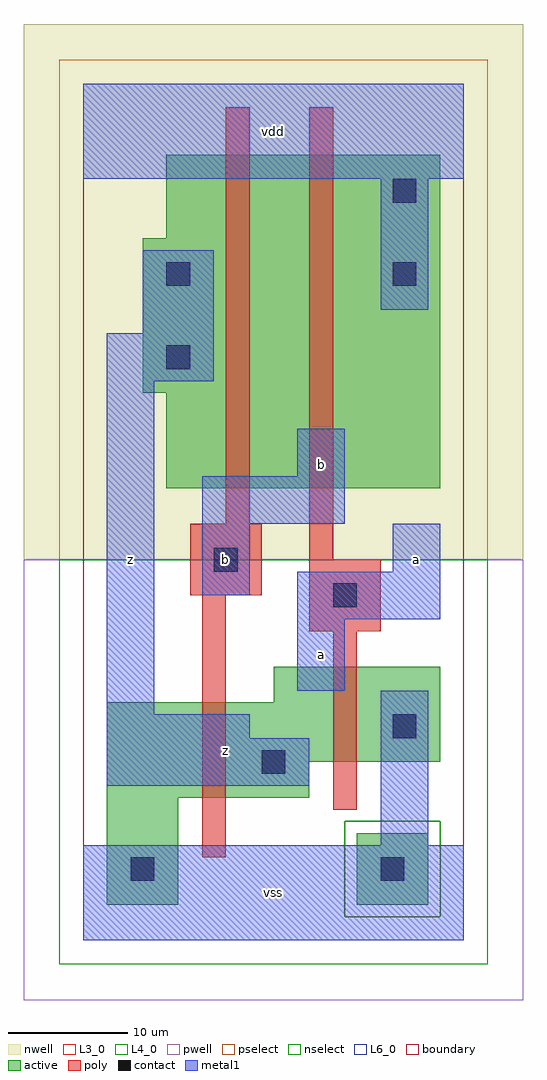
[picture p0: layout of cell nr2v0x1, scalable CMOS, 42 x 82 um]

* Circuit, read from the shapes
.subckt nr2v0x1 a b vdd vss z
M1 z b vss vss nfet w=8u l=2u
M2 vss a z vss nfet w=8u l=2u
M3 n1 b z n2 pfet w=28u l=2u
M4 vdd a n1 n2 pfet w=28u l=2u
.ends

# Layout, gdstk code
import gdstk
lib = gdstk.Library(unit=1e-6, precision=1e-09)
def R(c, l, rs):  # rectangles x0, y0, x1, y1
    for r in rs: c.add(gdstk.rectangle(r[:2], r[2:], *l))
L3_0 = (3, 0)
L4_0 = (4, 0)
L6_0 = (6, 0)
contact = (25, 0)
pwell = (41, 0)
nwell = (42, 0)
active = (43, 0)
pselect = (44, 0)
nselect = (45, 0)
poly = (46, 0)
metal1 = (49, 0)
boundary = (63, 0)

nr2v0x1 = lib.new_cell('nr2v0x1')
R(nr2v0x1, L3_0, [(2,3,8,12), (2,12,19,15), (2,15,30,20), (16,20,30,23)])
R(nr2v0x1, L4_0, [(7,38,30,46), (5,46,30,59), (7,59,30,66)])
R(nr2v0x1, L6_0, [(23,3,29,9)])
R(nr2v0x1, contact, [(4,5,6,7), (25,5,27,7), (15,14,17,16), (26,17,28,19), (21,28,23,30), (11,31,13,33), (7,48,9,50), (7,55,9,57), (26,55,28,57), (26,62,28,64)])
R(nr2v0x1, pwell, [(-5,-5,37,32)])
R(nr2v0x1, nwell, [(-5,32,37,77)])
R(nr2v0x1, active, [(2,3,8,12), (23,3,29,9), (2,12,19,15), (2,15,30,20), (16,20,30,23), (7,38,30,46), (5,46,30,59), (7,59,30,66)])
R(nr2v0x1, pselect, [(22,2,30,10), (-2,32,34,74)])
R(nr2v0x1, nselect, [(-2,-2,34,2), (-2,2,22,10), (30,2,34,10), (-2,10,34,32)])
R(nr2v0x1, poly, [(10,7,12,29), (21,11,23,26), (19,26,25,32), (9,29,15,35), (19,32,21,70), (12,35,14,70)])
R(nr2v0x1, metal1, [(0,0,32,8), (25,8,29,21), (2,13,19,17), (2,17,14,19), (2,19,6,47), (18,21,22,27), (18,27,30,31), (10,29,14,35), (26,31,30,35), (10,35,22,39), (18,39,22,43), (2,47,11,51), (5,51,11,58), (25,53,29,64), (0,64,32,72)])
R(nr2v0x1, boundary, [(0,0,32,72)])
nr2v0x1.add(gdstk.Label('z', (4,32), layer=49, texttype=0))
nr2v0x1.add(gdstk.Label('z', (12,16), layer=49, texttype=0))
nr2v0x1.add(gdstk.Label('b', (12,32), layer=49, texttype=0))
nr2v0x1.add(gdstk.Label('vss', (16,4), layer=49, texttype=0))
nr2v0x1.add(gdstk.Label('a', (20,24), layer=49, texttype=0))
nr2v0x1.add(gdstk.Label('b', (20,40), layer=49, texttype=0))
nr2v0x1.add(gdstk.Label('vdd', (16,68), layer=49, texttype=0))
nr2v0x1.add(gdstk.Label('a', (28,32), layer=49, texttype=0))

lib.write_gds('nr2v0x1.gds')
